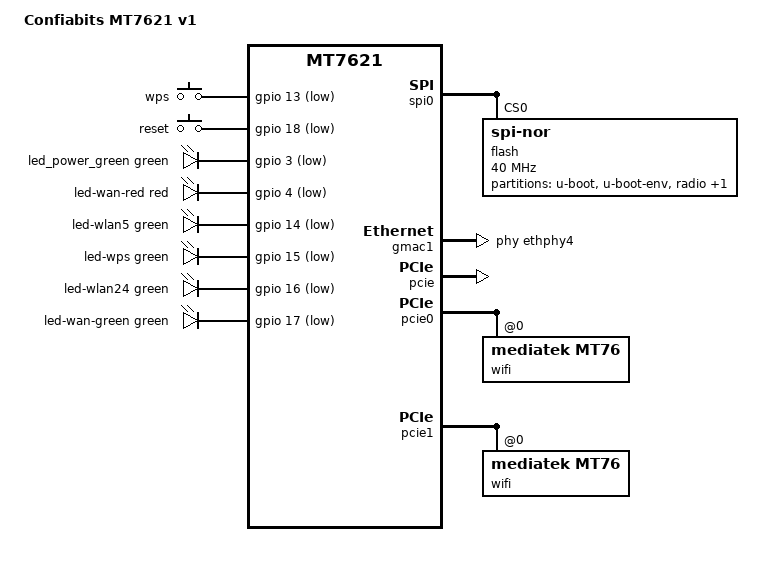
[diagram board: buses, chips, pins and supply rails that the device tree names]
// SPDX-License-Identifier: GPL-2.0-or-later OR MIT

#include "mt7621.dtsi"

#include <dt-bindings/gpio/gpio.h>
#include <dt-bindings/input/input.h>
#include <dt-bindings/leds/common.h>

/ {
	compatible = "confiabits,mt7621-v1", "mediatek,mt7621-soc";
	model = "Confiabits MT7621 v1";

	aliases {
		led-boot = &led_power_green;
		led-failsafe = &led_power_green;
		led-running = &led_power_green;
		led-upgrade = &led_power_green;
	};

	chosen {
		bootargs = "console=ttyS0,57600";
	};

	keys {
		compatible = "gpio-keys";

		button-wps {
			label = "wps";
			gpios = <&gpio 13 GPIO_ACTIVE_LOW>;
			debounce-interval = <60>;
			linux,code = <KEY_WPS_BUTTON>;
		};

		button-reset {
			label = "reset";
			gpios = <&gpio 18 GPIO_ACTIVE_LOW>;
			debounce-interval = <60>;
			linux,code = <KEY_RESTART>;
		};
	};

	leds {
		compatible = "gpio-leds";

		led_power_green: led-power-green {
			color = <LED_COLOR_ID_GREEN>;
			function = LED_FUNCTION_POWER;
			gpios = <&gpio 3 GPIO_ACTIVE_LOW>;
		};

		led-wan-red {
			color = <LED_COLOR_ID_RED>;
			function = LED_FUNCTION_WAN;
			gpios = <&gpio 4 GPIO_ACTIVE_LOW>;
		};

		led-wlan5 {
			color = <LED_COLOR_ID_GREEN>;
			function = LED_FUNCTION_WLAN_5GHZ;
			gpios = <&gpio 14 GPIO_ACTIVE_LOW>;
			linux,default-trigger = "phy1tpt";
		};

		led-wps {
			color = <LED_COLOR_ID_GREEN>;
			function = LED_FUNCTION_WPS;
			gpios = <&gpio 15 GPIO_ACTIVE_LOW>;
		};

		led-wlan24 {
			color = <LED_COLOR_ID_GREEN>;
			function = LED_FUNCTION_WLAN_2GHZ;
			gpios = <&gpio 16 GPIO_ACTIVE_LOW>;
			linux,default-trigger = "phy0tpt";
		};

		led-wan-green {
			color = <LED_COLOR_ID_GREEN>;
			function = LED_FUNCTION_WAN;
			gpios = <&gpio 17 GPIO_ACTIVE_LOW>;
		};
	};
};

&spi0 {
	status = "okay";

	flash@0 {
		compatible = "jedec,spi-nor";
		reg = <0>;
		spi-max-frequency = <40000000>;

		partitions {
			compatible = "fixed-partitions";
			#address-cells = <1>;
			#size-cells = <1>;

			partition@0 {
				label = "u-boot";
				reg = <0x0 0x30000>;
				read-only;
			};

			partition@30000 {
				label = "u-boot-env";
				reg = <0x30000 0x10000>;
				read-only;
			};

			partition@40000 {
				label = "radio";
				reg = <0x40000 0x10000>;
				read-only;

				nvmem-layout {
					compatible = "fixed-layout";
					#address-cells = <1>;
					#size-cells = <1>;

					eeprom_radio_0: eeprom@0 {
						reg = <0x0 0x400>;
					};

					eeprom_radio_8000: eeprom@8000 {
						reg = <0x8000 0x4da8>;
					};

					macaddr_radio_4: macaddr@4 {
						reg = <0x4 0x6>;
					};

					macaddr_radio_8004: macaddr@8004 {
						reg = <0x8004 0x6>;
					};
				};
			};

			partition@50000 {
				label = "firmware";
				compatible = "denx,uimage";
				reg = <0x50000 0xfb0000>;
			};
		};
	};
};

&gmac0 {
	nvmem-cells = <&macaddr_radio_4>;
	nvmem-cell-names = "mac-address";
};

&gmac1 {
	status = "okay";
	label = "wan";
	phy-handle = <&ethphy4>;

	nvmem-cells = <&macaddr_radio_4>;
	nvmem-cell-names = "mac-address";
};

&ethphy4 {
	/delete-property/ interrupts;
};

&pcie {
	status = "okay";
};

&pcie0 {
	wifi@0,0 {
		compatible = "mediatek,mt76";
		reg = <0x0000 0 0 0 0>;
		ieee80211-freq-limit = <2400000 2500000>;

		nvmem-cells = <&eeprom_radio_0>;
		nvmem-cell-names = "eeprom";
	};
};

&pcie1 {
	wifi@0,0 {
		compatible = "mediatek,mt76";
		reg = <0x0000 0 0 0 0>;
		ieee80211-freq-limit = <5000000 6000000>;

		nvmem-cells = <&eeprom_radio_8000>;
		nvmem-cell-names = "eeprom";
	};
};

&state_default {
	gpio {
		groups = "i2c", "jtag", "wdt";
		function = "gpio";
	};
};

&switch0 {
	ports {
		port@0 {
			status = "okay";
			label = "lan1";
		};

		port@1 {
			status = "okay";
			label = "lan2";
		};

		port@2 {
			status = "okay";
			label = "lan3";
		};
	};
};
